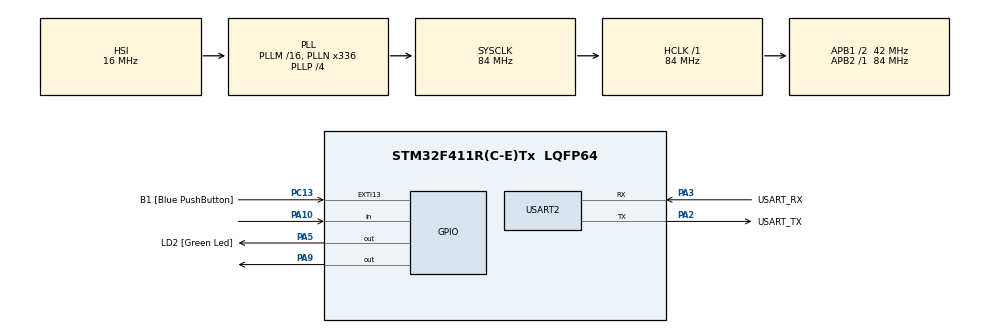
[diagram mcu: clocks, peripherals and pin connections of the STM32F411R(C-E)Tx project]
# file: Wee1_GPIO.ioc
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Mcu.Family=STM32F4
Mcu.Name=STM32F411R(C-E)Tx
Mcu.Package=LQFP64
NVIC.PriorityGroup=NVIC_PRIORITYGROUP_0
PA10.Signal=GPIO_Input
PA13.GPIO_Label=TMS
PA13.Mode=Serial_Wire
PA13.Signal=SYS_JTMS-SWDIO
PA14.GPIO_Label=TCK
PA14.Mode=Serial_Wire
PA14.Signal=SYS_JTCK-SWCLK
PA2.GPIO_Label=USART_TX
PA2.Mode=Asynchronous
PA2.Signal=USART2_TX
PA3.GPIO_Label=USART_RX
PA3.Mode=Asynchronous
PA3.Signal=USART2_RX
PA5.GPIO_Label=LD2 [Green Led]
PA5.Signal=GPIO_Output
PA9.Signal=GPIO_Output
PB3.GPIO_Label=SWO
PB3.Signal=SYS_JTDO-SWO
PC13-ANTI_TAMP.GPIO_Label=B1 [Blue PushButton]
PC13-ANTI_TAMP.GPIO_ModeDefaultEXTI=GPIO_MODE_IT_FALLING
PC13-ANTI_TAMP.Signal=GPXTI13
PC14-OSC32_IN.Mode=LSE-External-Oscillator
PC14-OSC32_IN.Signal=RCC_OSC32_IN
PC15-OSC32_OUT.Mode=LSE-External-Oscillator
PC15-OSC32_OUT.Signal=RCC_OSC32_OUT
PH0\ -\ OSC_IN.Mode=HSE-External-Clock-Source
PH0\ -\ OSC_IN.Signal=RCC_OSC_IN
PH1\ -\ OSC_OUT.Mode=HSE-External-Clock-Source
PH1\ -\ OSC_OUT.Signal=RCC_OSC_OUT
ProjectManager.HeapSize=0x200
ProjectManager.StackSize=0x400
ProjectManager.TargetToolchain=STM32CubeIDE
RCC.48MHZClocksFreq_Value=84000000
RCC.AHBFreq_Value=84000000
RCC.APB1CLKDivider=RCC_HCLK_DIV2
RCC.APB1Freq_Value=42000000
RCC.APB1TimFreq_Value=84000000
RCC.APB2Freq_Value=84000000
RCC.APB2TimFreq_Value=84000000
RCC.CortexFreq_Value=84000000
RCC.FLatency-AdvancedSettings=FLASH_LATENCY_2
RCC.HCLKFreq_Value=84000000
RCC.HSE_VALUE=8000000
RCC.HSI_VALUE=16000000
RCC.PLLN=336
RCC.PLLP=RCC_PLLP_DIV4
RCC.SYSCLKFreq_VALUE=84000000
RCC.SYSCLKSource=RCC_SYSCLKSOURCE_PLLCLK
RCC.VCOOutputFreq_Value=336000000
USART2.VirtualMode=VM_ASYNC
board=NUCLEO-F411RE

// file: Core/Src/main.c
/* USER CODE BEGIN Header */
/**
  ******************************************************************************
  * @file           : main.c
  * @brief          : Main program body
  ******************************************************************************
  * @attention
  *
  * <h2><center>&copy; Copyright (c) 2021 STMicroelectronics.
  * All rights reserved.</center></h2>
  *
  * This software component is licensed by ST under BSD 3-Clause license,
  * the "License"; You may not use this file except in compliance with the
  * License. You may obtain a copy of the License at:
  *                        opensource.org/licenses/BSD-3-Clause
  *
  ******************************************************************************
  */
/* USER CODE END Header */
#include "main.h"

UART_HandleTypeDef huart2;

void SystemClock_Config(void);
static void MX_GPIO_Init(void);
static void MX_USART2_UART_Init(void);

int main(void)
{

  /* MCU Configuration--------------------------------------------------------*/

  /* Reset of all peripherals, Initializes the Flash interface and the Systick. */
  HAL_Init();

  /* Configure the system clock */
  SystemClock_Config();

  /* Initialize all configured peripherals */
  MX_GPIO_Init();
  MX_USART2_UART_Init();
  /* USER CODE BEGIN 2 */
  GPIO_PinState SwitchState[2] ;  //Now,last
  uint16_t LED1_HalfPeriod = 500 ;   // 1kH
  uint32_t TimeStamp = 0 ;
  uint32_t ButtonTimeStamp = 0 ;
  /* USER CODE END 2 */

  /* Infinite loop */
  while (1)
  {

    /* USER CODE BEGIN 3 */
	  if(HAL_GetTick() - ButtonTimeStamp >= 100) //ms
	  {
		  ButtonTimeStamp = HAL_GetTick();
		  SwitchState[0]= HAL_GPIO_ReadPin(GPIOA, GPIO_PIN_10);
		  if(SwitchState[1] == GPIO_PIN_SET && SwitchState[0] == GPIO_PIN_RESET )
		  {
			  //Change Half Period of LED 1
			  if(LED1_HalfPeriod == 500)
			  {
				  LED1_HalfPeriod = 250 ;
			  }
			  else
			  {
				  LED1_HalfPeriod = 500 ;
			  }
		  }
		  SwitchState[1] = SwitchState[0] ;

		 // HAL_GetTick() ; //mS
		  // Run LED
  	  }
	  if(HAL_GetTick() - TimeStamp >= LED1_HalfPeriod)
	  {
		TimeStamp = HAL_GetTick() ;
		if(HAL_GPIO_ReadPin(GPIOA, GPIO_PIN_9) == GPIO_PIN_SET )
		{
			HAL_GPIO_WritePin(GPIOA, GPIO_PIN_9, GPIO_PIN_RESET);
		}
		else
		{
			HAL_GPIO_WritePin(GPIOA, GPIO_PIN_9, GPIO_PIN_SET);
		}
	  }
  }
  /* USER CODE END 3 */
}

void SystemClock_Config(void)
{
  RCC_OscInitTypeDef RCC_OscInitStruct = {0};
  RCC_ClkInitTypeDef RCC_ClkInitStruct = {0};

  /** Configure the main internal regulator output voltage
  */
  __HAL_RCC_PWR_CLK_ENABLE();
  __HAL_PWR_VOLTAGESCALING_CONFIG(PWR_REGULATOR_VOLTAGE_SCALE1);
  /** Initializes the RCC Oscillators according to the specified parameters
  * in the RCC_OscInitTypeDef structure.
  */
  RCC_OscInitStruct.OscillatorType = RCC_OSCILLATORTYPE_HSI;
  RCC_OscInitStruct.HSIState = RCC_HSI_ON;
  RCC_OscInitStruct.HSICalibrationValue = RCC_HSICALIBRATION_DEFAULT;
  RCC_OscInitStruct.PLL.PLLState = RCC_PLL_ON;
  RCC_OscInitStruct.PLL.PLLSource = RCC_PLLSOURCE_HSI;
  RCC_OscInitStruct.PLL.PLLM = 16;
  RCC_OscInitStruct.PLL.PLLN = 336;
  RCC_OscInitStruct.PLL.PLLP = RCC_PLLP_DIV4;
  RCC_OscInitStruct.PLL.PLLQ = 4;
  if (HAL_RCC_OscConfig(&RCC_OscInitStruct) != HAL_OK)
  {
    Error_Handler();
  }
  /** Initializes the CPU, AHB and APB buses clocks
  */
  RCC_ClkInitStruct.ClockType = RCC_CLOCKTYPE_HCLK|RCC_CLOCKTYPE_SYSCLK
                              |RCC_CLOCKTYPE_PCLK1|RCC_CLOCKTYPE_PCLK2;
  RCC_ClkInitStruct.SYSCLKSource = RCC_SYSCLKSOURCE_PLLCLK;
  RCC_ClkInitStruct.AHBCLKDivider = RCC_SYSCLK_DIV1;
  RCC_ClkInitStruct.APB1CLKDivider = RCC_HCLK_DIV2;
  RCC_ClkInitStruct.APB2CLKDivider = RCC_HCLK_DIV1;

  if (HAL_RCC_ClockConfig(&RCC_ClkInitStruct, FLASH_LATENCY_2) != HAL_OK)
  {
    Error_Handler();
  }
}

static void MX_USART2_UART_Init(void)
{

  huart2.Instance = USART2;
  huart2.Init.BaudRate = 115200;
  huart2.Init.WordLength = UART_WORDLENGTH_8B;
  huart2.Init.StopBits = UART_STOPBITS_1;
  huart2.Init.Parity = UART_PARITY_NONE;
  huart2.Init.Mode = UART_MODE_TX_RX;
  huart2.Init.HwFlowCtl = UART_HWCONTROL_NONE;
  huart2.Init.OverSampling = UART_OVERSAMPLING_16;
  if (HAL_UART_Init(&huart2) != HAL_OK)
  {
    Error_Handler();
  }

}

static void MX_GPIO_Init(void)
{
  GPIO_InitTypeDef GPIO_InitStruct = {0};

  /* GPIO Ports Clock Enable */
  __HAL_RCC_GPIOC_CLK_ENABLE();
  __HAL_RCC_GPIOH_CLK_ENABLE();
  __HAL_RCC_GPIOA_CLK_ENABLE();
  __HAL_RCC_GPIOB_CLK_ENABLE();

  /*Configure GPIO pin Output Level */
  HAL_GPIO_WritePin(GPIOA, LD2_Pin|GPIO_PIN_9, GPIO_PIN_RESET);

  /*Configure GPIO pin : B1_Pin */
  GPIO_InitStruct.Pin = B1_Pin;
  GPIO_InitStruct.Mode = GPIO_MODE_IT_FALLING;
  GPIO_InitStruct.Pull = GPIO_NOPULL;
  HAL_GPIO_Init(B1_GPIO_Port, &GPIO_InitStruct);

  /*Configure GPIO pins : LD2_Pin PA9 */
  GPIO_InitStruct.Pin = LD2_Pin|GPIO_PIN_9;
  GPIO_InitStruct.Mode = GPIO_MODE_OUTPUT_PP;
  GPIO_InitStruct.Pull = GPIO_NOPULL;
  GPIO_InitStruct.Speed = GPIO_SPEED_FREQ_LOW;
  HAL_GPIO_Init(GPIOA, &GPIO_InitStruct);

  /*Configure GPIO pin : PA10 */
  GPIO_InitStruct.Pin = GPIO_PIN_10;
  GPIO_InitStruct.Mode = GPIO_MODE_INPUT;
  GPIO_InitStruct.Pull = GPIO_NOPULL;
  HAL_GPIO_Init(GPIOA, &GPIO_InitStruct);

}

void Error_Handler(void)
{
  __disable_irq();
  while (1)
  {
  }
}

/************************ (C) COPYRIGHT STMicroelectronics *****END OF FILE****/
